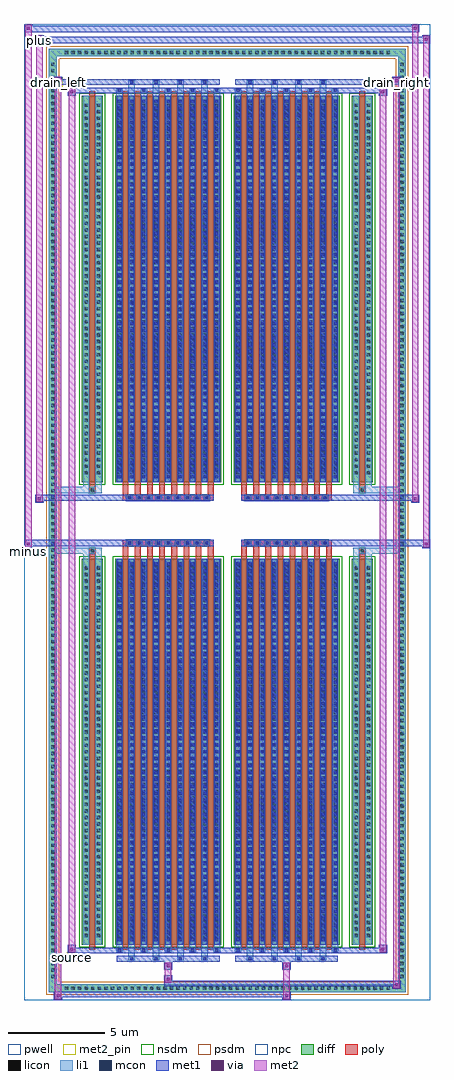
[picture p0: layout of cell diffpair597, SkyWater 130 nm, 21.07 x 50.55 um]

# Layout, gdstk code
import gdstk
lib = gdstk.Library(unit=1e-6, precision=5e-09)
def R(c, l, rs):  # rectangles x0, y0, x1, y1
    for r in rs: c.add(gdstk.rectangle(r[:2], r[2:], *l))
def A(c, l, x, y, w, h, nx, ny, dx, dy):  # array of equal rectangles
    R(c, l, [(x+i*dx, y+j*dy, x+i*dx+w, y+j*dy+h) for i in range(nx) for j in range(ny)])
def P(c, l, *ps):  # polygons
    for p in ps: c.add(gdstk.Polygon(p, *l))
pwell = (64, 44)
diff = (65, 20)
poly = (66, 20)
licon = (66, 44)
li1 = (67, 20)
mcon = (67, 44)
met1 = (68, 20)
via = (68, 44)
met2_pin = (69, 16)
met2 = (69, 20)
nsdm = (93, 44)
psdm = (94, 20)
npc = (95, 20)

diffpair597 = lib.new_cell('diffpair597')
R(diffpair597, pwell, [(-10.52,-24.84,10.52,25.71), (-7.84,-23.03,-0.01,-0.805), (0.01,-23.03,7.84,-0.805), (-7.84,0.805,-0.01,23.03), (0.01,0.805,7.84,23.03)])
A(diffpair597, diff, -8.535, -24.44, 0.41, 0.41, 50, 2, 0.34, 48.47)
A(diffpair597, diff, -9.25, -23.835, 0.41, 0.41, 1, 140, 0, 0.34)
A(diffpair597, diff, 8.84, -23.835, 0.41, 0.41, 1, 140, 0, 0.34)
R(diffpair597, diff, [(-8.535,-24.44,8.535,-24.03), (-9.25,-23.835,-8.84,23.835), (8.84,-23.835,9.25,23.835), (-7.53,-21.985,-6.45,-1.985), (-5.81,-21.985,-0.32,-1.985), (0.32,-21.985,5.81,-1.985), (6.45,-21.985,7.53,-1.985), (-7.53,1.985,-6.45,21.985), (-5.81,1.985,-0.32,21.985), (0.32,1.985,5.81,21.985), (6.45,1.985,7.53,21.985), (-8.535,24.03,8.535,24.44)])
P(diffpair597, diff, [(9.25,24.44),(-9.25,24.44),(-9.25,-24.03),(-8.84,-24.03),(-8.84,24.03),(8.84,24.03),(8.84,-24.03),(-8.84,-24.03),(-9.25,-24.03),(-9.25,-24.44),(9.25,-24.44)])
A(diffpair597, poly, -5.42, -22.235, 0.3, 20.5, 8, 2, 0.63, 23.97)
A(diffpair597, poly, 0.71, -22.235, 0.3, 20.5, 8, 2, 0.63, 23.97)
A(diffpair597, poly, -5.42, -1.735, 0.3, 0.4, 8, 2, 0.63, 3.07)
A(diffpair597, poly, 0.71, -1.735, 0.3, 0.4, 8, 2, 0.63, 3.07)
A(diffpair597, poly, -5.23, -1.335, 0.33, 0.33, 9, 2, 0.5, 2.34)
A(diffpair597, poly, 0.9, -1.335, 0.33, 0.33, 9, 2, 0.5, 2.34)
R(diffpair597, poly, [(-7.14,-22.235,-6.84,-1.735), (6.84,-22.235,7.14,-1.735), (-7.155,-1.735,-6.825,-1.405), (-7.155,-1.735,-6.825,-1.405), (6.825,-1.735,7.155,-1.405), (6.825,-1.735,7.155,-1.405), (-5.42,-1.335,-0.71,-1.005), (0.71,-1.335,5.42,-1.005), (-5.42,1.005,-0.71,1.335), (0.71,1.005,5.42,1.335), (-7.155,1.405,-6.825,1.735), (-7.155,1.405,-6.825,1.735), (6.825,1.405,7.155,1.735), (6.825,1.405,7.155,1.735), (-7.14,1.735,-6.84,22.235), (6.84,1.735,7.14,22.235)])
A(diffpair597, licon, -8.415, -24.32, 0.17, 0.17, 50, 2, 0.34, 48.47)
A(diffpair597, licon, -9.13, -23.715, 0.17, 0.17, 1, 140, 0, 0.34)
A(diffpair597, licon, 8.96, -23.715, 0.17, 0.17, 1, 140, 0, 0.34)
A(diffpair597, licon, -7.39, -21.59, 0.17, 0.17, 1, 57, 0, 0.34)
A(diffpair597, licon, -6.76, -21.59, 0.17, 0.17, 1, 57, 0, 0.34)
A(diffpair597, licon, -5.67, -21.59, 0.17, 0.17, 9, 57, 0.63, 0.34)
A(diffpair597, licon, 0.46, -21.59, 0.17, 0.17, 9, 57, 0.63, 0.34)
A(diffpair597, licon, 6.59, -21.59, 0.17, 0.17, 1, 57, 0, 0.34)
A(diffpair597, licon, 7.22, -21.59, 0.17, 0.17, 1, 57, 0, 0.34)
A(diffpair597, licon, -5.15, -1.255, 0.17, 0.17, 9, 2, 0.5, 2.34)
A(diffpair597, licon, 0.98, -1.255, 0.17, 0.17, 9, 2, 0.5, 2.34)
A(diffpair597, licon, -7.39, 2.38, 0.17, 0.17, 1, 57, 0, 0.34)
A(diffpair597, licon, -6.76, 2.38, 0.17, 0.17, 1, 57, 0, 0.34)
A(diffpair597, licon, -5.67, 2.38, 0.17, 0.17, 9, 57, 0.63, 0.34)
A(diffpair597, licon, 0.46, 2.38, 0.17, 0.17, 9, 57, 0.63, 0.34)
A(diffpair597, licon, 6.59, 2.38, 0.17, 0.17, 1, 57, 0, 0.34)
A(diffpair597, licon, 7.22, 2.38, 0.17, 0.17, 1, 57, 0, 0.34)
R(diffpair597, licon, [(-7.075,-1.655,-6.905,-1.485), (6.905,-1.655,7.075,-1.485), (-7.075,1.485,-6.905,1.655), (6.905,1.485,7.075,1.655)])
A(diffpair597, li1, -8.495, -24.4, 0.33, 0.33, 50, 2, 0.34, 48.47)
A(diffpair597, li1, -9.21, -23.795, 0.33, 0.33, 1, 140, 0, 0.34)
A(diffpair597, li1, 8.88, -23.795, 0.33, 0.33, 1, 140, 0, 0.34)
A(diffpair597, li1, -5.12, -22.79, 0.33, 0.805, 4, 2, 1.26, 44.775)
A(diffpair597, li1, -5.04, -22.79, 0.17, 0.17, 4, 2, 1.26, 45.41)
A(diffpair597, li1, 1.01, -22.79, 0.33, 0.805, 4, 2, 1.26, 44.775)
A(diffpair597, li1, 1.09, -22.79, 0.17, 0.17, 4, 2, 1.26, 45.41)
A(diffpair597, li1, -5.75, -22.36, 0.33, 0.375, 5, 2, 1.26, 44.345)
A(diffpair597, li1, -5.67, -22.36, 0.17, 0.17, 5, 2, 1.26, 44.55)
A(diffpair597, li1, 0.38, -22.36, 0.33, 0.375, 5, 2, 1.26, 44.345)
A(diffpair597, li1, 0.46, -22.36, 0.17, 0.17, 5, 2, 1.26, 44.55)
A(diffpair597, li1, -5.75, -21.985, 0.33, 20, 9, 2, 0.63, 23.97)
A(diffpair597, li1, 0.38, -21.985, 0.33, 20, 9, 2, 0.63, 23.97)
A(diffpair597, li1, -5.67, -21.79, 0.17, 0.17, 9, 55, 0.63, 0.36)
A(diffpair597, li1, -5.67, -21.79, 0.17, 19.61, 9, 2, 0.63, 23.97)
A(diffpair597, li1, 0.46, -21.79, 0.17, 0.17, 9, 55, 0.63, 0.36)
A(diffpair597, li1, 0.46, -21.79, 0.17, 19.61, 9, 2, 0.63, 23.97)
A(diffpair597, li1, -7.47, -21.67, 0.33, 0.33, 1, 57, 0, 0.34)
A(diffpair597, li1, -6.84, -21.67, 0.33, 0.33, 1, 57, 0, 0.34)
A(diffpair597, li1, -5.75, -21.67, 0.33, 0.33, 9, 57, 0.63, 0.34)
A(diffpair597, li1, 0.38, -21.67, 0.33, 0.33, 9, 57, 0.63, 0.34)
A(diffpair597, li1, 6.51, -21.67, 0.33, 0.33, 1, 57, 0, 0.34)
A(diffpair597, li1, 7.14, -21.67, 0.33, 0.33, 1, 57, 0, 0.34)
A(diffpair597, li1, -5.23, -1.335, 0.33, 0.33, 9, 2, 0.5, 2.34)
A(diffpair597, li1, 0.9, -1.335, 0.33, 0.33, 9, 2, 0.5, 2.34)
A(diffpair597, li1, -5.67, 2.18, 0.17, 0.17, 9, 55, 0.63, 0.36)
A(diffpair597, li1, 0.46, 2.18, 0.17, 0.17, 9, 55, 0.63, 0.36)
A(diffpair597, li1, -7.47, 2.3, 0.33, 0.33, 1, 57, 0, 0.34)
A(diffpair597, li1, -6.84, 2.3, 0.33, 0.33, 1, 57, 0, 0.34)
A(diffpair597, li1, -5.75, 2.3, 0.33, 0.33, 9, 57, 0.63, 0.34)
A(diffpair597, li1, 0.38, 2.3, 0.33, 0.33, 9, 57, 0.63, 0.34)
A(diffpair597, li1, 6.51, 2.3, 0.33, 0.33, 1, 57, 0, 0.34)
A(diffpair597, li1, 7.14, 2.3, 0.33, 0.33, 1, 57, 0, 0.34)
R(diffpair597, li1, [(-9.25,-24.44,-8.84,-24.03), (-9.25,-24.44,-8.84,-24.03), (-8.84,-24.44,8.84,-24.03), (8.84,-24.44,9.25,-24.03), (8.84,-24.44,9.25,-24.03), (-9.25,-24.03,-8.84,24.03), (8.84,-24.03,9.25,24.03), (-7.47,-21.985,-7.14,-1.985), (-6.84,-21.985,-6.51,-1.985), (6.51,-21.985,6.84,-1.985), (7.14,-21.985,7.47,-1.985), (-7.47,-1.985,-7.14,-1.405), (-6.84,-1.985,-6.51,-1.405), (6.51,-1.985,6.84,-1.405), (7.14,-1.985,7.47,-1.405), (-9.25,-1.735,-7.155,-1.405), (-7.47,-1.735,-7.155,-1.405), (-7.155,-1.735,-6.825,-1.405), (-6.825,-1.735,-6.51,-1.405), (6.51,-1.735,6.825,-1.405), (6.825,-1.735,7.155,-1.405), (6.825,-1.735,9.25,-1.405), (7.155,-1.735,7.47,-1.405), (-9.25,1.405,-7.155,1.735), (-7.47,1.405,-7.155,1.735), (-7.47,1.405,-7.14,1.985), (-7.155,1.405,-6.825,1.735), (-6.84,1.405,-6.51,1.985), (-6.825,1.405,-6.51,1.735), (6.51,1.405,6.825,1.735), (6.51,1.405,6.84,1.985), (6.825,1.405,7.155,1.735), (6.825,1.405,9.25,1.735), (7.14,1.405,7.47,1.985), (7.155,1.405,7.47,1.735), (-7.47,1.985,-7.14,21.985), (-6.84,1.985,-6.51,21.985), (6.51,1.985,6.84,21.985), (7.14,1.985,7.47,21.985), (-9.25,24.03,-8.84,24.44), (-9.25,24.03,-8.84,24.44), (-8.84,24.03,8.84,24.44), (8.84,24.03,9.25,24.44), (8.84,24.03,9.25,24.44)])
A(diffpair597, mcon, -5.04, -22.79, 0.17, 0.17, 4, 2, 1.26, 45.41)
A(diffpair597, mcon, 1.09, -22.79, 0.17, 0.17, 4, 2, 1.26, 45.41)
A(diffpair597, mcon, -5.67, -22.36, 0.17, 0.17, 5, 2, 1.26, 44.55)
A(diffpair597, mcon, 0.46, -22.36, 0.17, 0.17, 5, 2, 1.26, 44.55)
A(diffpair597, mcon, -5.67, -21.79, 0.17, 0.17, 9, 55, 0.63, 0.36)
A(diffpair597, mcon, 0.46, -21.79, 0.17, 0.17, 9, 55, 0.63, 0.36)
A(diffpair597, mcon, -5.15, -1.255, 0.17, 0.17, 9, 2, 0.5, 2.34)
A(diffpair597, mcon, 0.98, -1.255, 0.17, 0.17, 9, 2, 0.5, 2.34)
A(diffpair597, mcon, -5.67, 2.18, 0.17, 0.17, 9, 55, 0.63, 0.36)
A(diffpair597, mcon, 0.46, 2.18, 0.17, 0.17, 9, 55, 0.63, 0.36)
A(diffpair597, met1, -5.1, -22.85, 0.29, 0.29, 4, 2, 1.26, 45.41)
A(diffpair597, met1, 1.03, -22.85, 0.29, 0.29, 4, 2, 1.26, 45.41)
A(diffpair597, met1, -5.73, -22.42, 0.29, 0.29, 5, 2, 1.26, 44.55)
A(diffpair597, met1, 0.4, -22.42, 0.29, 0.29, 5, 2, 1.26, 44.55)
A(diffpair597, met1, -5.73, -21.985, 0.29, 20, 9, 2, 0.63, 23.97)
A(diffpair597, met1, 0.4, -21.985, 0.29, 20, 9, 2, 0.63, 23.97)
A(diffpair597, met1, -5.73, -21.85, 0.29, 0.29, 9, 55, 0.63, 0.36)
A(diffpair597, met1, 0.4, -21.85, 0.29, 0.29, 9, 55, 0.63, 0.36)
A(diffpair597, met1, -5.21, -1.315, 0.29, 0.29, 9, 2, 0.5, 2.34)
A(diffpair597, met1, 0.92, -1.315, 0.29, 0.29, 9, 2, 0.5, 2.34)
A(diffpair597, met1, -5.73, 2.12, 0.29, 0.29, 9, 55, 0.63, 0.36)
A(diffpair597, met1, 0.4, 2.12, 0.29, 0.29, 9, 55, 0.63, 0.36)
R(diffpair597, met1, [(-8.98,-24.84,-8.55,-24.41), (2.85,-24.84,3.28,-24.41), (-8.98,-24.7,3.28,-24.41), (8.55,-24.27,8.98,-23.84), (-3.28,-24.13,8.98,-23.84), (-3.28,-23.99,-2.85,-23.56), (-3.28,-23.28,-2.85,-22.85), (2.85,-23.28,3.28,-22.85), (-5.73,-22.85,-0.4,-22.56), (0.4,-22.85,5.73,-22.56), (-8.27,-22.42,-7.84,-21.99), (-8.27,-22.42,-5.73,-22.13), (-5.73,-22.42,-0.4,-22.13), (-0.4,-22.42,0.4,-22.13), (0.4,-22.42,5.73,-22.13), (5.73,-22.42,8.27,-22.13), (7.84,-22.42,8.27,-21.99), (-10.52,-1.435,-10.09,-1.005), (10.09,-1.435,10.52,-1.005), (-10.52,-1.335,-0.71,-1.005), (-5.42,-1.335,-0.71,-1.005), (0.71,-1.335,5.42,-1.005), (0.71,-1.335,10.52,-1.005), (-9.95,0.905,-9.52,1.335), (9.52,0.905,9.95,1.335), (-9.95,1.005,-5.42,1.335), (-5.42,1.005,-0.71,1.335), (0.71,1.005,5.42,1.335), (5.42,1.005,9.95,1.335), (-8.27,21.99,-7.84,22.42), (7.84,21.99,8.27,22.42), (-8.27,22.13,-5.73,22.42), (-5.73,22.13,-0.4,22.42), (-0.4,22.13,0.4,22.42), (0.4,22.13,5.73,22.42), (5.73,22.13,8.27,22.42), (-8.98,22.56,-8.55,22.99), (-8.98,22.56,-5.73,22.85), (-5.73,22.56,-0.4,22.85), (0.4,22.56,5.73,22.85), (5.73,22.56,8.98,22.85), (8.55,22.56,8.98,22.99), (-9.95,24.71,-9.52,25.14), (-9.95,24.71,-7.84,25.04), (-7.84,24.71,7.84,25.04), (7.84,24.71,10.52,25.04), (10.09,24.71,10.52,25.14), (-10.52,25.28,-10.09,25.71), (-10.52,25.28,-7.84,25.61), (-7.84,25.28,7.84,25.61), (7.84,25.28,9.95,25.61), (9.52,25.28,9.95,25.71)])
R(diffpair597, via, [(-8.84,-24.7,-8.69,-24.55), (2.99,-24.7,3.14,-24.55), (8.69,-24.13,8.84,-23.98), (-3.14,-23.85,-2.99,-23.7), (-3.14,-23.14,-2.99,-22.99), (2.99,-23.14,3.14,-22.99), (-8.13,-22.28,-7.98,-22.13), (7.98,-22.28,8.13,-22.13), (-10.38,-1.295,-10.23,-1.145), (10.23,-1.295,10.38,-1.145), (-9.81,1.045,-9.66,1.195), (9.66,1.045,9.81,1.195), (-8.13,22.13,-7.98,22.28), (7.98,22.13,8.13,22.28), (-8.84,22.7,-8.69,22.85), (8.69,22.7,8.84,22.85), (-9.81,24.85,-9.66,25), (10.23,24.85,10.38,25), (-10.38,25.42,-10.23,25.57), (9.66,25.42,9.81,25.57)])
R(diffpair597, met2_pin, [(-8.305,-22.87,-7.805,-22.37), (-10.555,-1.885,-10.055,-1.385), (-9.015,22.44,-8.515,22.94), (8.515,22.44,9.015,22.94), (-9.985,24.59,-9.485,25.09)])
R(diffpair597, met2, [(-8.93,-24.79,-8.6,-24.46), (-8.93,-24.79,-8.6,22.94), (2.9,-24.79,3.23,-24.46), (2.9,-24.46,3.23,-23.23), (8.6,-24.22,8.93,-23.89), (8.6,-24.22,8.93,22.94), (-3.23,-23.94,-2.9,-23.61), (-3.23,-23.61,-2.9,-23.23), (-3.23,-23.23,-2.9,-22.9), (2.9,-23.23,3.23,-22.9), (-8.22,-22.37,-7.89,-22.04), (-8.22,-22.37,-7.89,22.37), (7.89,-22.37,8.22,-22.04), (7.89,-22.37,8.22,22.37), (-10.47,-1.385,-10.14,-1.055), (-10.47,-1.385,-10.14,25.66), (10.14,-1.385,10.47,-1.055), (10.14,-1.385,10.47,25.09), (-9.9,0.955,-9.57,1.285), (-9.9,0.955,-9.57,25.09), (9.57,0.955,9.9,1.285), (9.57,0.955,9.9,25.66), (-8.22,22.04,-7.89,22.37), (7.89,22.04,8.22,22.37), (-8.93,22.61,-8.6,22.94), (8.6,22.61,8.93,22.94), (-9.9,24.76,-9.57,25.09), (10.14,24.76,10.47,25.09), (-10.47,25.33,-10.14,25.66), (9.57,25.33,9.9,25.66)])
P(diffpair597, met2, [(10.47,-1.385),(10.47,-1.385),(10.47,-1.055),(10.47,-1.055)],
  [(10.47,24.76),(10.47,24.76),(10.47,25.09),(10.47,25.09)],
  [(-10.14,-1.385),(-10.14,-1.385),(-10.14,-1.055),(-10.14,-1.055)],
  [(-10.14,25.33),(-10.14,25.33),(-10.14,25.66),(-10.14,25.66)],
  [(9.9,0.955),(9.9,0.955),(9.9,1.285),(9.9,1.285)],
  [(9.9,25.33),(9.9,25.33),(9.9,25.66),(9.9,25.66)],
  [(-9.57,0.955),(-9.57,0.955),(-9.57,1.285),(-9.57,1.285)],
  [(-9.57,24.76),(-9.57,24.76),(-9.57,25.09),(-9.57,25.09)],
  [(-8.6,-24.79),(-8.6,-24.79),(-8.6,-24.46),(-8.6,-24.46)],
  [(-8.6,22.61),(-8.6,22.61),(-8.6,22.94),(-8.6,22.94)],
  [(8.93,-24.22),(8.93,-24.22),(8.93,-23.89),(8.93,-23.89)],
  [(8.93,22.61),(8.93,22.61),(8.93,22.94),(8.93,22.94)],
  [(-7.89,-22.37),(-7.89,-22.37),(-7.89,-22.04),(-7.89,-22.04)],
  [(-7.89,22.04),(-7.89,22.04),(-7.89,22.37),(-7.89,22.37)],
  [(8.22,-22.37),(8.22,-22.37),(8.22,-22.04),(8.22,-22.04)],
  [(8.22,22.04),(8.22,22.04),(8.22,22.37),(8.22,22.37)])
R(diffpair597, nsdm, [(-7.66,-22.115,-6.32,-1.855), (-5.94,-22.115,-0.19,-1.855), (0.19,-22.115,5.94,-1.855), (6.32,-22.115,7.66,-1.855), (-7.66,1.855,-6.32,22.115), (-5.94,1.855,-0.19,22.115), (0.19,1.855,5.94,22.115), (6.32,1.855,7.66,22.115)])
P(diffpair597, psdm, [(9.38,24.57),(-9.38,24.57),(-9.38,-23.9),(-8.71,-23.9),(-8.71,23.9),(8.71,23.9),(8.71,-23.9),(-8.71,-23.9),(-9.38,-23.9),(-9.38,-24.57),(9.38,-24.57)])
A(diffpair597, npc, -5.25, -1.355, 0.37, 0.37, 9, 2, 0.5, 2.34)
A(diffpair597, npc, 0.88, -1.355, 0.37, 0.37, 9, 2, 0.5, 2.34)
R(diffpair597, npc, [(-7.175,-1.755,-6.805,-1.385), (6.805,-1.755,7.175,-1.385), (-5.25,-1.355,-4.38,-0.985), (-5.25,-1.355,-4.38,-0.985), (-4.75,-1.355,-3.88,-0.985), (-4.75,-1.355,-3.88,-0.985), (-4.25,-1.355,-3.38,-0.985), (-4.25,-1.355,-3.38,-0.985), (-3.75,-1.355,-2.88,-0.985), (-3.75,-1.355,-2.88,-0.985), (-3.25,-1.355,-2.38,-0.985), (-3.25,-1.355,-2.38,-0.985), (-2.75,-1.355,-1.88,-0.985), (-2.75,-1.355,-1.88,-0.985), (-2.25,-1.355,-1.38,-0.985), (-2.25,-1.355,-1.38,-0.985), (-1.75,-1.355,-0.88,-0.985), (-1.75,-1.355,-0.88,-0.985), (0.88,-1.355,1.75,-0.985), (0.88,-1.355,1.75,-0.985), (1.38,-1.355,2.25,-0.985), (1.38,-1.355,2.25,-0.985), (1.88,-1.355,2.75,-0.985), (1.88,-1.355,2.75,-0.985), (2.38,-1.355,3.25,-0.985), (2.38,-1.355,3.25,-0.985), (2.88,-1.355,3.75,-0.985), (2.88,-1.355,3.75,-0.985), (3.38,-1.355,4.25,-0.985), (3.38,-1.355,4.25,-0.985), (3.88,-1.355,4.75,-0.985), (3.88,-1.355,4.75,-0.985), (4.38,-1.355,5.25,-0.985), (4.38,-1.355,5.25,-0.985), (-5.25,0.985,-4.38,1.355), (-5.25,0.985,-4.38,1.355), (-4.75,0.985,-3.88,1.355), (-4.75,0.985,-3.88,1.355), (-4.25,0.985,-3.38,1.355), (-4.25,0.985,-3.38,1.355), (-3.75,0.985,-2.88,1.355), (-3.75,0.985,-2.88,1.355), (-3.25,0.985,-2.38,1.355), (-3.25,0.985,-2.38,1.355), (-2.75,0.985,-1.88,1.355), (-2.75,0.985,-1.88,1.355), (-2.25,0.985,-1.38,1.355), (-2.25,0.985,-1.38,1.355), (-1.75,0.985,-0.88,1.355), (-1.75,0.985,-0.88,1.355), (0.88,0.985,1.75,1.355), (0.88,0.985,1.75,1.355), (1.38,0.985,2.25,1.355), (1.38,0.985,2.25,1.355), (1.88,0.985,2.75,1.355), (1.88,0.985,2.75,1.355), (2.38,0.985,3.25,1.355), (2.38,0.985,3.25,1.355), (2.88,0.985,3.75,1.355), (2.88,0.985,3.75,1.355), (3.38,0.985,4.25,1.355), (3.38,0.985,4.25,1.355), (3.88,0.985,4.75,1.355), (3.88,0.985,4.75,1.355), (4.38,0.985,5.25,1.355), (4.38,0.985,5.25,1.355), (-7.175,1.385,-6.805,1.755), (6.805,1.385,7.175,1.755)])
diffpair597.add(gdstk.Label('minus', (-10.305,-1.635), layer=69, texttype=5))
diffpair597.add(gdstk.Label('drain_right', (8.765,22.69), layer=69, texttype=5))
diffpair597.add(gdstk.Label('drain_left', (-8.765,22.69), layer=69, texttype=5))
diffpair597.add(gdstk.Label('source', (-8.055,-22.62), layer=69, texttype=5))
diffpair597.add(gdstk.Label('plus', (-9.735,24.84), layer=69, texttype=5))

lib.write_gds('diffpair597.gds')
